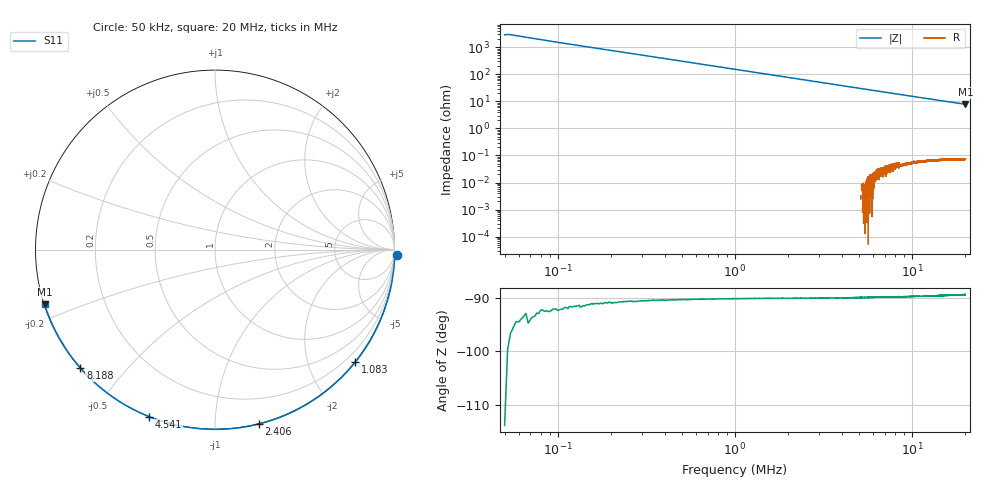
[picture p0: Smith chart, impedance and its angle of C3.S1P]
!Keysight Technologies,E5063A,MY54100949,A.07.30
!Date: Wed Nov 26 01:39:18 2025
!Data & Calibration Information:
!Freq	S11:SOLT1(ON)
# Hz S RI R 50
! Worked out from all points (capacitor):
!   10001 points, 50 kHz to 20 MHz, reference 50 ohm
!   read as one part to ground: C = 1.04 nF near 149.8 kHz
!   lowest |Z| = 7.84 ohm at 20 MHz (marker M1)
!   S11 on the Smith chart (normalised r, x): 50 kHz: -23, -53; 1.083 MHz: -0.01, -2.85; 2.406 MHz: -0.00, -1.28; 4.541 MHz: -0.00, -0.68; 8.188 MHz: 0.00, -0.38; 20 MHz: 0.00, -0.16
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50000  1.014 -0.032
133790  0.999 -0.0875
349250  0.9767 -0.2243
552740  0.9397 -0.3481
806105  0.8739 -0.4905
1083410  0.7819 -0.627
1402610  0.6588 -0.7552
1719815  0.5267 -0.8527
2050985  0.3877 -0.9243
2406095  0.2438 -0.972
2543750  0.1909 -0.9838
2994620  0.0295 -1.001
3513320  -0.1299 -0.9928
4014065  -0.2579 -0.9673
4540745  -0.3689 -0.9302
5037500  -0.4551 -0.8907
5576150  -0.5314 -0.847
6170660  -0.5998 -0.7994
6821030  -0.6597 -0.7502
7531250  -0.7117 -0.7014
8187605  -0.7501 -0.6592
9061415  -0.7905 -0.6099
1.0025e7  -0.8247 -0.5621
1.122798e7  -0.8569 -0.5111
1.251875e7  -0.8824 -0.4653
1.50125e7  -0.9153 -0.3959
1.750625e7  -0.9358 -0.3446
2e7  -0.9493 -0.3051
